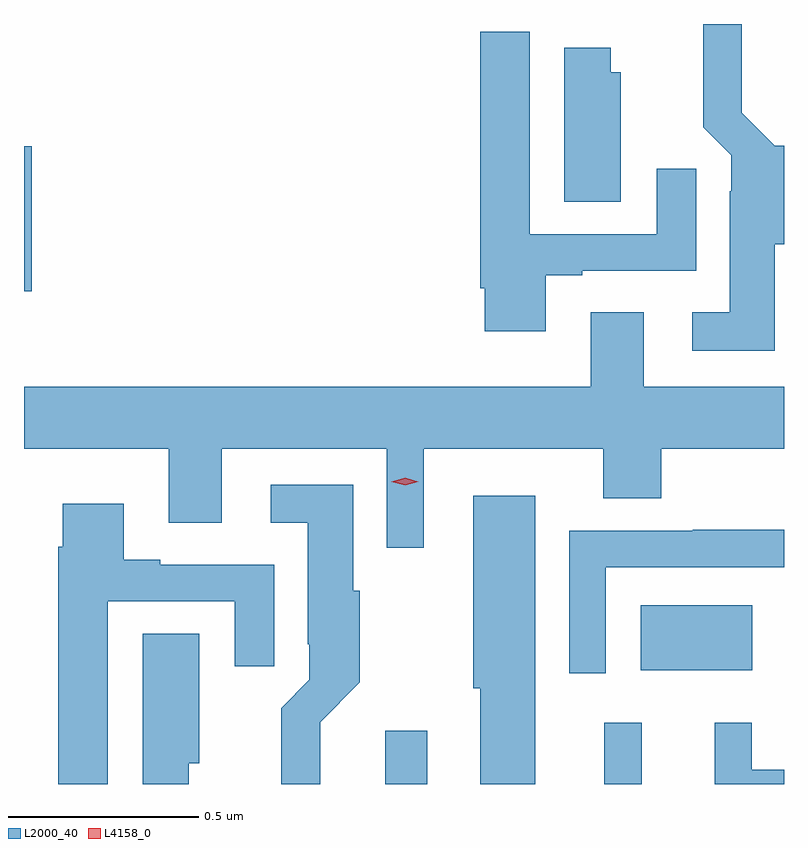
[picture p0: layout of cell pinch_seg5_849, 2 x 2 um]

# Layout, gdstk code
import gdstk
lib = gdstk.Library(unit=1e-6, precision=1e-09)
def R(c, l, rs):  # rectangles x0, y0, x1, y1
    for r in rs: c.add(gdstk.rectangle(r[:2], r[2:], *l))
def P(c, l, *ps):  # polygons
    for p in ps: c.add(gdstk.Polygon(p, *l))
L2000_40 = (2000, 40)
L4158_0 = (4158, 0)

pinch_seg5_849 = lib.new_cell('pinch_seg5_849')
R(pinch_seg5_849, L2000_40, [(782.273,887.846,782.383,887.986), (782.849,887.846,782.948,888.007), (782.945,888.146,783.238,888.316), (781.322,889.143,781.343,889.524)])
P(pinch_seg5_849, L2000_40, [(783.298,889.266),(783.322,889.266),(783.322,889.525),(783.297,889.525),(783.211,889.612),(783.211,889.846),(783.109,889.846),(783.109,889.574),(783.183,889.5),(783.183,889.406),(783.179,889.406),(783.179,889.087),(783.081,889.087),(783.081,888.986),(783.298,888.986)],
  [(782.695,889.185),(782.791,889.185),(782.791,889.197),(783.091,889.197),(783.091,889.465),(782.987,889.465),(782.987,889.293),(782.653,889.293),(782.653,889.825),(782.522,889.825),(782.522,889.15),(782.534,889.15),(782.534,889.038),(782.695,889.038)],
  [(782.893,889.719),(782.866,889.719),(782.866,889.783),(782.744,889.783),(782.744,889.378),(782.893,889.378)],
  [(782.374,888.728),(782.846,888.728),(782.846,888.598),(782.999,888.598),(782.999,888.728),(783.322,888.728),(783.322,888.892),(782.953,888.892),(782.953,889.087),(782.813,889.087),(782.813,888.892),(781.322,888.892),(781.322,888.728),(781.703,888.728),(781.703,888.534),(781.843,888.534),(781.843,888.728),(782.277,888.728),(782.277,888.468),(782.374,888.468)],
  [(782.101,888.008),(782.206,888.114),(782.206,888.354),(782.188,888.354),(782.188,888.634),(781.971,888.634),(781.971,888.533),(782.069,888.533),(782.069,888.214),(782.073,888.214),(782.073,888.12),(781.999,888.046),(781.999,887.846),(782.101,887.846)],
  [(782.668,888.604),(782.504,888.604),(782.504,888.098),(782.522,888.098),(782.522,887.846),(782.668,887.846)],
  [(781.543,888.327),(781.877,888.327),(781.877,888.156),(781.981,888.156),(781.981,888.423),(781.681,888.423),(781.681,888.436),(781.585,888.436),(781.585,888.583),(781.424,888.583),(781.424,888.47),(781.412,888.47),(781.412,887.846),(781.543,887.846)],
  [(782.853,888.417),(783.322,888.417),(783.322,888.515),(783.082,888.515),(783.082,888.513),(782.757,888.513),(782.757,888.138),(782.853,888.138)],
  [(781.756,887.901),(781.783,887.901),(781.783,888.242),(781.634,888.242),(781.634,887.846),(781.756,887.846)],
  [(783.322,887.883),(783.237,887.883),(783.237,888.007),(783.14,888.007),(783.14,887.846),(783.322,887.846)])
P(pinch_seg5_849, L4158_0, [(782.325,888.632),(782.289,888.642),(782.289,888.642),(782.289,888.642),(782.325,888.652),(782.36,888.642),(782.36,888.642),(782.36,888.642)])

lib.write_gds('pinch_seg5_849.gds')
